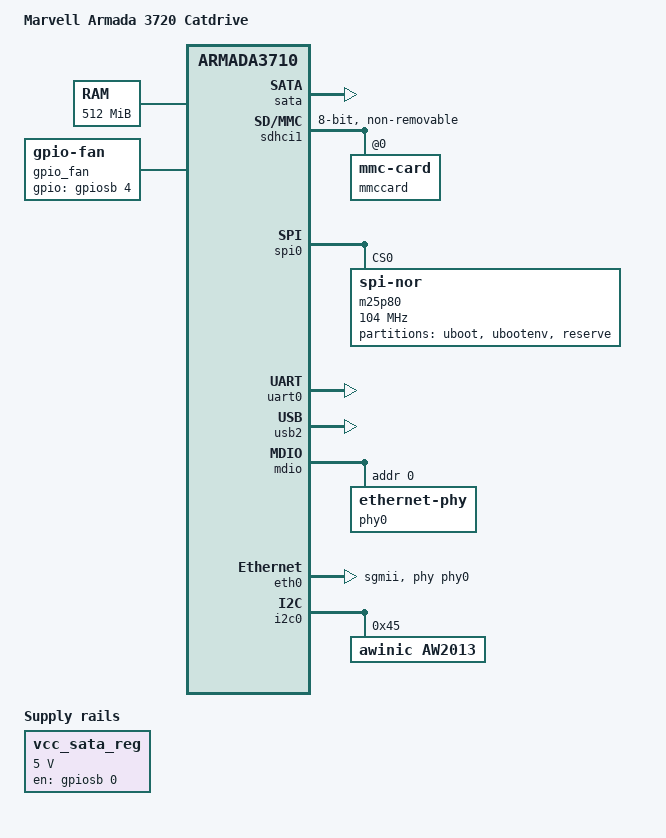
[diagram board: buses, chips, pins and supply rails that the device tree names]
// SPDX-License-Identifier: (GPL-2.0+ OR MIT)

/dts-v1/;

#include <dt-bindings/gpio/gpio.h>
#include "armada-372x.dtsi"

/ {
	model = "Marvell Armada 3720 Catdrive";
	compatible = "marvell,catdrive", "marvell,armada3720", "marvell,armada3710";

	chosen {
		stdout-path = "serial0:115200n8";
	};

	memory@0 {
		device_type = "memory";
		reg = <0x00000000 0x00000000 0x00000000 0x20000000>;
	};

	vcc_sata_reg: regulator {
		compatible = "regulator-fixed";
		regulator-name = "vcc_sata";
		regulator-min-microvolt = <5000000>;
		regulator-max-microvolt = <5000000>;
		regulator-boot-on;
		regulator-always-on;
		enable-active-high;
		gpio = <&gpiosb 0 GPIO_ACTIVE_HIGH>;
	};

	gpio_fan {
		compatible = "gpio-fan";
		gpios = <&gpiosb 4 GPIO_ACTIVE_HIGH>;
		gpio-fan,speed-map = <0    0
				      1000 1>;
	};
};

&sata {
	status = "okay";
};

&sdhci1 {
	non-removable;
	bus-width = <8>;
	mmc-ddr-1_8v;
	mmc-hs200-1_8v;
	marvell,pad-type = "fixed-1-8v";
	pinctrl-names = "default";
	pinctrl-0 = <&mmc_pins>;
	status = "okay";

	#address-cells = <1>;
	#size-cells = <0>;
	mmccard: mmccard@0 {
		compatible = "mmc-card";
		reg = <0>;
	};
};

&spi0 {
	status = "okay";

	m25p80@0 {
		reg = <0>;
		compatible = "jedec,spi-nor";
		spi-max-frequency = <104000000>;
		m25p,fast-read;
		status = "okay";

		partitions {
			compatible = "fixed-partitions";
			#address-cells = <1>;
			#size-cells = <1>;

			partition@0 {
				label = "uboot";
				reg = <0 0x1f0000>;
			};

			partition@1f0000 {
				label = "ubootenv";
				reg = <0x1f0000 0x10000>;
			};

			partition@200000 {
				label = "reserve";
				reg = <0x200000 0x600000>;
			};
		};
	};
};

&uart0 {
	pinctrl-names = "default";
	pinctrl-0 = <&uart1_pins>;
	status = "okay";
};

&usb2 {
	status = "okay";
};

&mdio {
	status = "okay";
	phy0: ethernet-phy@0 {
		reg = <0>;
	};
};

&eth0 {
	phy-mode = "sgmii";
	phy = <&phy0>;
	status = "okay";
};

&i2c0 {
	pinctrl-names = "default";
	pinctrl-0 = <&i2c1_pins>;
	status = "okay";
	aw2013@45 {
		compatible = "awinic,aw2013";
		reg = <0x45>;
		leds_num = <3>;
		aw2013,red {
			aw2013,name = "red";
			aw2013,id = <0>;
			aw2013,max-brightness = <255>;
			aw2013,max-current = <3>;
			aw2013,rise-time-ms = <2>;
			aw2013,hold-time-ms = <1>;
			aw2013,fall-time-ms = <2>;
			aw2013,off-time-ms = <1>;
		};

		aw2013,green {
			aw2013,name = "green";
			aw2013,id = <1>;
			aw2013,max-brightness = <255>;
			aw2013,max-current = <3>;
			aw2013,rise-time-ms = <2>;
			aw2013,hold-time-ms = <1>;
			aw2013,fall-time-ms = <2>;
			aw2013,off-time-ms = <1>;
			default-state = "on";
		};

		aw2013,blue {
			aw2013,name = "blue";
			aw2013,id = <2>;
			aw2013,max-brightness = <255>;
			aw2013,max-current = <3>;
			aw2013,rise-time-ms = <2>;
			aw2013,hold-time-ms = <1>;
			aw2013,fall-time-ms = <2>;
			aw2013,off-time-ms = <1>;
		};
	};
};
